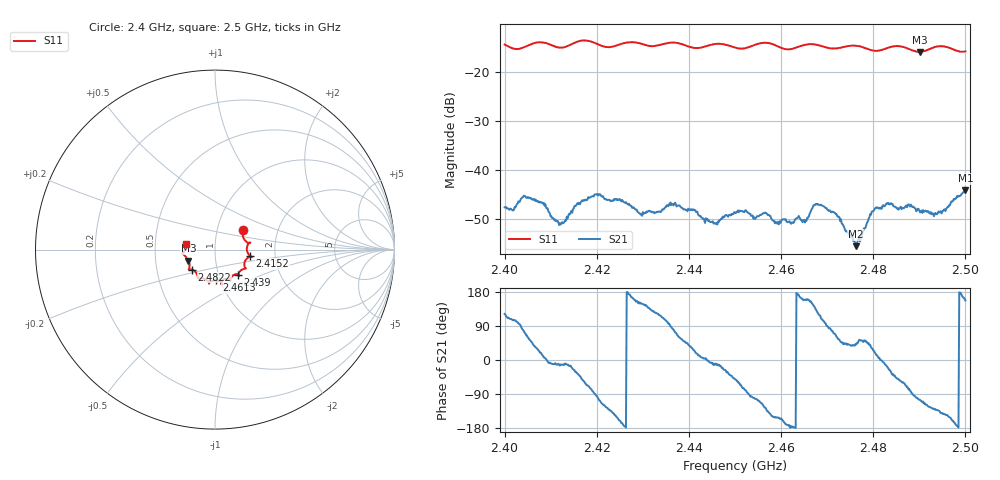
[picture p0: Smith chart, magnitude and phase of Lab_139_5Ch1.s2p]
# Hz S RI R 50
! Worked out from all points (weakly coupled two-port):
!   601 points, 2.4 GHz to 2.5 GHz, reference 50 ohm
!   highest |S21| = -44.20 dB at 2.5 GHz (marker M1); lowest = -55.6 dB at 2.4762 GHz (marker M2)
!   lowest |S11| = -15.9 dB at 2.4902 GHz (marker M3), VSWR 1.38, Z = 36.9 - j4.65 ohm
!   |S11| at or under -10 dB: start of sweep to end of sweep
!   S12 and S22 are empty: the file has one direction only
!   S11 on the Smith chart (normalised r, x): 2.4 GHz: 1.33, +0.30; 2.4152 GHz: 1.48, -0.11; 2.439 GHz: 1.24, -0.36; 2.4613 GHz: 0.96, -0.34; 2.4822 GHz: 0.76, -0.17; 2.5 GHz: 0.72, +0.05
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2.4e9  0.1553 0.1102  -0.00215 0.00351  0 0  0 0
2.404667e9  0.178 0.0412  0.00216 0.00471  0 0  0 0
2.412333e9  0.1772 0.00152  0.00279 -0.000588  0 0  0 0
2.415167e9  0.1952 -0.0359  0.00378 -0.00195  0 0  0 0
2.416667e9  0.2048 -0.0419  0.00309 -0.00358  0 0  0 0
2.420333e9  0.1863 -0.0436  -0.00113 -0.00533  0 0  0 0
2.429333e9  0.1649 -0.1063  -0.00306 0.00184  0 0  0 0
2.433333e9  0.1323 -0.1326  -0.00196 0.00318  0 0  0 0
2.439e9  0.1279 -0.1389  0.0026 0.00297  0 0  0 0
2.445667e9  0.0851 -0.1733  0.00276 -0.000617  0 0  0 0
2.45e9  0.0684 -0.164  0.00229 -0.00282  0 0  0 0
2.461333e9  0.00705 -0.1701  -0.00287 -0.000432  0 0  0 0
2.465167e9  -0.0328 -0.1864  -0.00269 0.00104  0 0  0 0
2.466667e9  -0.0334 -0.1895  -0.00343 0.00201  0 0  0 0
2.471667e9  -0.0613 -0.1621  0.0013 0.00337  0 0  0 0
2.476167e9  -0.094 -0.1599  0.00122 0.00111  0 0  0 0
2.479833e9  -0.105 -0.1286  0.00325 0.00188  0 0  0 0
2.482167e9  -0.1276 -0.1119  0.00432 -0.000434  0 0  0 0
2.483333e9  -0.1389 -0.1105  0.00421 -0.00177  0 0  0 0
2.490167e9  -0.1479 -0.0614  -0.000967 -0.00353  0 0  0 0
2.495167e9  -0.1816 -0.0209  -0.00302 -0.00229  0 0  0 0
2.5e9  -0.1588 0.0337  -0.00567 0.0024  0 0  0 0
